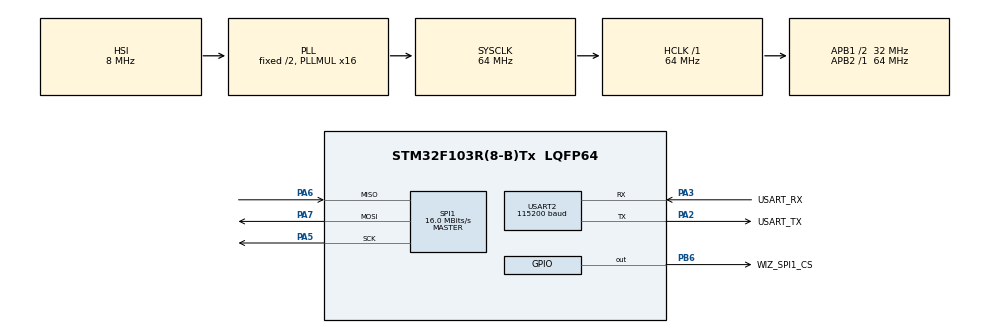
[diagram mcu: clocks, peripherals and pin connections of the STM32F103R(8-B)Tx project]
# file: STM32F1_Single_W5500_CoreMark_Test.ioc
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3rdParty.I-CUBE-CoreMark.0.1.0.ApplicationCcDeviceJjApplication=CoreMarkApp
3rdParty.I-CUBE-CoreMark.0.1.0.ITERATIONS=2000
3rdParty.I-CUBE-CoreMark.0.1.0.PRINTF_UART_PORT=huart2
3rdParty.I-CUBE-CoreMark.0.1.0.UtilityJjMISC=true
FREERTOS.BinarySemaphores01=coremark_start_sem,Dynamic,NULL
FREERTOS.Tasks01=mainTask,24,256,StartmainTask,Default,NULL,Dynamic,NULL,NULL;coremarkTask,8,1024,StartcoremarkTask,Default,NULL,Dynamic,NULL,NULL
FREERTOS.configTOTAL_HEAP_SIZE=6144
Mcu.Family=STM32F1
Mcu.Name=STM32F103R(8-B)Tx
Mcu.Package=LQFP64
NVIC.PriorityGroup=NVIC_PRIORITYGROUP_4
PA13.GPIO_Label=TMS
PA13.Mode=Serial_Wire
PA13.Signal=SYS_JTMS-SWDIO
PA14.GPIO_Label=TCK
PA14.Mode=Serial_Wire
PA14.Signal=SYS_JTCK-SWCLK
PA2.GPIO_Label=USART_TX
PA2.GPIO_Mode=GPIO_MODE_AF_PP
PA2.GPIO_PuPd=GPIO_NOPULL
PA2.GPIO_Speed=GPIO_SPEED_FREQ_LOW
PA2.Mode=Asynchronous
PA2.Signal=USART2_TX
PA3.GPIO_Label=USART_RX
PA3.GPIO_Mode=GPIO_MODE_AF_PP
PA3.GPIO_PuPd=GPIO_NOPULL
PA3.GPIO_Speed=GPIO_SPEED_FREQ_LOW
PA3.Mode=Asynchronous
PA3.Signal=USART2_RX
PA5.Mode=Full_Duplex_Master
PA5.Signal=SPI1_SCK
PA6.Mode=Full_Duplex_Master
PA6.Signal=SPI1_MISO
PA7.Mode=Full_Duplex_Master
PA7.Signal=SPI1_MOSI
PB3.GPIO_Label=SWO
PB3.Signal=SYS_JTDO-TRACESWO
PB6.GPIO_Label=WIZ_SPI1_CS
PB6.Signal=GPIO_Output
PC14-OSC32_IN.Mode=LSE-External-Oscillator
PC14-OSC32_IN.Signal=RCC_OSC32_IN
PC15-OSC32_OUT.Mode=LSE-External-Oscillator
PC15-OSC32_OUT.Signal=RCC_OSC32_OUT
PD0-OSC_IN.Mode=HSE-External-Clock-Source
PD0-OSC_IN.Signal=RCC_OSC_IN
PD1-OSC_OUT.Mode=HSE-External-Clock-Source
PD1-OSC_OUT.Signal=RCC_OSC_OUT
ProjectManager.HeapSize=0x200
ProjectManager.StackSize=0x2000
ProjectManager.TargetToolchain=MDK-ARM V5.32
RCC.AHBFreq_Value=64000000
RCC.APB1CLKDivider=RCC_HCLK_DIV2
RCC.APB1Freq_Value=32000000
RCC.APB1TimFreq_Value=64000000
RCC.APB2Freq_Value=64000000
RCC.APB2TimFreq_Value=64000000
RCC.HCLKFreq_Value=64000000
RCC.PLLMUL=RCC_PLL_MUL16
RCC.RTCClockSelection=RCC_RTCCLKSOURCE_LSE
RCC.SYSCLKFreq_VALUE=64000000
RCC.SYSCLKSource=RCC_SYSCLKSOURCE_PLLCLK
RCC.USBFreq_Value=64000000
SPI1.BaudRatePrescaler=SPI_BAUDRATEPRESCALER_4
SPI1.CalculateBaudRate=16.0 MBits/s
SPI1.Direction=SPI_DIRECTION_2LINES
SPI1.Mode=SPI_MODE_MASTER
SPI1.VirtualType=VM_MASTER
TIM4.Period=10000-1
TIM4.Prescaler=7200-1
USART2.BaudRate=115200
USART2.VirtualMode=VM_ASYNC
VP_3rdParty.I-CUBE-CoreMark_VS_DeviceJjApplication_0.1.0_0.1.0.Mode=DeviceJjApplication
VP_3rdParty.I-CUBE-CoreMark_VS_UtilityJjMISC_0.1.0_0.1.0.Mode=UtilityJjMISC
VP_FREERTOS_VS_CMSIS_V2.Mode=CMSIS_V2
VP_TIM4_VS_ClockSourceINT.Mode=Internal
board=NUCLEO-F103RB

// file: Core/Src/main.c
/* USER CODE BEGIN Header */
/**
  ******************************************************************************
  * @file           : main.c
  * @brief          : Main program body
  ******************************************************************************
  * @attention
  *
  * Copyright (c) 2023 STMicroelectronics.
  * All rights reserved.
  *
  * This software is licensed under terms that can be found in the LICENSE file
  * in the root directory of this software component.
  * If no LICENSE file comes with this software, it is provided AS-IS.
  *
  ******************************************************************************
  */
/* USER CODE END Header */
#include "main.h"
#include "cmsis_os.h"
#include "app_coremarkapp.h"
#include "dhcp.h"
#include "wizInterface.h"

/* USER CODE BEGIN PD */
#define SERVER_IP1	192	//server ip
#define SERVER_IP2	168
#define SERVER_IP3	2
#define SERVER_IP4	100
#define SERVER_PORT	3000 //server port

#define BUFFERSIZE 64

static uint8_t serverIP[] = { SERVER_IP1, SERVER_IP2, SERVER_IP3, SERVER_IP4 };
static uint16_t localPort = 1000;
/* USER CODE END PD */

SPI_HandleTypeDef hspi1;

TIM_HandleTypeDef htim4;

UART_HandleTypeDef huart2;

/* Definitions for mainTask */
osThreadId_t mainTaskHandle;
const osThreadAttr_t mainTask_attributes = {
  .name = "mainTask",
  .stack_size = 256 * 4,
  .priority = (osPriority_t) osPriorityNormal,
};
/* Definitions for coremarkTask */
osThreadId_t coremarkTaskHandle;
const osThreadAttr_t coremarkTask_attributes = {
  .name = "coremarkTask",
  .stack_size = 1024 * 4,
  .priority = (osPriority_t) osPriorityLow,
};
/* Definitions for coremark_start_sem */
osSemaphoreId_t coremark_start_semHandle;
const osSemaphoreAttr_t coremark_start_sem_attributes = {
  .name = "coremark_start_sem"
};
/* USER CODE BEGIN PV */
static uint16_t wizDHCPticks = 0;
uint8_t txBuffer[BUFFERSIZE];
/* USER CODE END PV */

void SystemClock_Config(void);
static void MX_GPIO_Init(void);
static void MX_USART2_UART_Init(void);
static void MX_SPI1_Init(void);
static void MX_TIM4_Init(void);
void StartmainTask(void *argument);
void StartcoremarkTask(void *argument);

/* USER CODE BEGIN 0 */
void HAL_TIM_PeriodElapsedCallback(TIM_HandleTypeDef *htim)
{
  /* USER CODE BEGIN Callback 0 */

  /* USER CODE END Callback 0 */
  if (htim->Instance == TIM4) {
    HAL_IncTick();
  }
  /* USER CODE BEGIN Callback 1 */
  if(htim->Instance == TIM4) {
	  wizDHCPticks++;
	  if(wizDHCPticks >= 1000)
	  {
		  wizDHCPticks = 0;
		  DHCP_time_handler();
	  }
  }
  /* USER CODE END Callback 1 */
}
/* USER CODE END 0 */

int main(void)
{

  /* MCU Configuration--------------------------------------------------------*/

  /* Reset of all peripherals, Initializes the Flash interface and the Systick. */
  HAL_Init();

  /* Configure the system clock */
  SystemClock_Config();

  /* Initialize all configured peripherals */
  MX_GPIO_Init();
  MX_USART2_UART_Init();
  MX_SPI1_Init();
  MX_TIM4_Init();
  //MX_CoreMarkApp_Init();
  /* USER CODE BEGIN 2 */
	printf("Start WIZ Chip Initialized...\n");

	if(!WIZ_ChipInit())
	{
		printf("WIZ_ChipInit failed.\n");
	}

	printf("Start Network Initialized...\n");
	if(!WIZ_NetworkInit())
	{
		printf("WIZ_NetworkInit failed.\n");
	}

	printf("Initialized finished...\n");
  /* USER CODE END 2 */

  /* Init scheduler */
  osKernelInitialize();

  /* Create the semaphores(s) */
  /* creation of coremark_start_sem */
  coremark_start_semHandle = osSemaphoreNew(1, 0, &coremark_start_sem_attributes);

  /* Create the thread(s) */
  /* creation of mainTask */
  mainTaskHandle = osThreadNew(StartmainTask, NULL, &mainTask_attributes);

  /* creation of coremarkTask */
  coremarkTaskHandle = osThreadNew(StartcoremarkTask, NULL, &coremarkTask_attributes);

  /* Start scheduler */
  osKernelStart();

  /* We should never get here as control is now taken by the scheduler */
  /* Infinite loop */
  while (1)
  {

  }
}

void SystemClock_Config(void)
{
  RCC_OscInitTypeDef RCC_OscInitStruct = {0};
  RCC_ClkInitTypeDef RCC_ClkInitStruct = {0};

  /** Initializes the RCC Oscillators according to the specified parameters
  * in the RCC_OscInitTypeDef structure.
  */
  RCC_OscInitStruct.OscillatorType = RCC_OSCILLATORTYPE_HSI;
  RCC_OscInitStruct.HSIState = RCC_HSI_ON;
  RCC_OscInitStruct.HSICalibrationValue = RCC_HSICALIBRATION_DEFAULT;
  RCC_OscInitStruct.PLL.PLLState = RCC_PLL_ON;
  RCC_OscInitStruct.PLL.PLLSource = RCC_PLLSOURCE_HSI_DIV2;
  RCC_OscInitStruct.PLL.PLLMUL = RCC_PLL_MUL16;
  if (HAL_RCC_OscConfig(&RCC_OscInitStruct) != HAL_OK)
  {
    Error_Handler();
  }

  /** Initializes the CPU, AHB and APB buses clocks
  */
  RCC_ClkInitStruct.ClockType = RCC_CLOCKTYPE_HCLK|RCC_CLOCKTYPE_SYSCLK
                              |RCC_CLOCKTYPE_PCLK1|RCC_CLOCKTYPE_PCLK2;
  RCC_ClkInitStruct.SYSCLKSource = RCC_SYSCLKSOURCE_PLLCLK;
  RCC_ClkInitStruct.AHBCLKDivider = RCC_SYSCLK_DIV1;
  RCC_ClkInitStruct.APB1CLKDivider = RCC_HCLK_DIV2;
  RCC_ClkInitStruct.APB2CLKDivider = RCC_HCLK_DIV1;

  if (HAL_RCC_ClockConfig(&RCC_ClkInitStruct, FLASH_LATENCY_2) != HAL_OK)
  {
    Error_Handler();
  }
}

static void MX_SPI1_Init(void)
{

  /* SPI1 parameter configuration*/
  hspi1.Instance = SPI1;
  hspi1.Init.Mode = SPI_MODE_MASTER;
  hspi1.Init.Direction = SPI_DIRECTION_2LINES;
  hspi1.Init.DataSize = SPI_DATASIZE_8BIT;
  hspi1.Init.CLKPolarity = SPI_POLARITY_LOW;
  hspi1.Init.CLKPhase = SPI_PHASE_1EDGE;
  hspi1.Init.NSS = SPI_NSS_SOFT;
  hspi1.Init.BaudRatePrescaler = SPI_BAUDRATEPRESCALER_4;
  hspi1.Init.FirstBit = SPI_FIRSTBIT_MSB;
  hspi1.Init.TIMode = SPI_TIMODE_DISABLE;
  hspi1.Init.CRCCalculation = SPI_CRCCALCULATION_DISABLE;
  hspi1.Init.CRCPolynomial = 10;
  if (HAL_SPI_Init(&hspi1) != HAL_OK)
  {
    Error_Handler();
  }

}

static void MX_TIM4_Init(void)
{

  TIM_ClockConfigTypeDef sClockSourceConfig = {0};
  TIM_MasterConfigTypeDef sMasterConfig = {0};

  htim4.Instance = TIM4;
  htim4.Init.Prescaler = 7200-1;
  htim4.Init.CounterMode = TIM_COUNTERMODE_UP;
  htim4.Init.Period = 10000-1;
  htim4.Init.ClockDivision = TIM_CLOCKDIVISION_DIV1;
  htim4.Init.AutoReloadPreload = TIM_AUTORELOAD_PRELOAD_DISABLE;
  if (HAL_TIM_Base_Init(&htim4) != HAL_OK)
  {
    Error_Handler();
  }
  sClockSourceConfig.ClockSource = TIM_CLOCKSOURCE_INTERNAL;
  if (HAL_TIM_ConfigClockSource(&htim4, &sClockSourceConfig) != HAL_OK)
  {
    Error_Handler();
  }
  sMasterConfig.MasterOutputTrigger = TIM_TRGO_RESET;
  sMasterConfig.MasterSlaveMode = TIM_MASTERSLAVEMODE_DISABLE;
  if (HAL_TIMEx_MasterConfigSynchronization(&htim4, &sMasterConfig) != HAL_OK)
  {
    Error_Handler();
  }

}

static void MX_USART2_UART_Init(void)
{

  huart2.Instance = USART2;
  huart2.Init.BaudRate = 115200;
  huart2.Init.WordLength = UART_WORDLENGTH_8B;
  huart2.Init.StopBits = UART_STOPBITS_1;
  huart2.Init.Parity = UART_PARITY_NONE;
  huart2.Init.Mode = UART_MODE_TX_RX;
  huart2.Init.HwFlowCtl = UART_HWCONTROL_NONE;
  huart2.Init.OverSampling = UART_OVERSAMPLING_16;
  if (HAL_UART_Init(&huart2) != HAL_OK)
  {
    Error_Handler();
  }

}

static void MX_GPIO_Init(void)
{
  GPIO_InitTypeDef GPIO_InitStruct = {0};

  /* GPIO Ports Clock Enable */
  __HAL_RCC_GPIOC_CLK_ENABLE();
  __HAL_RCC_GPIOD_CLK_ENABLE();
  __HAL_RCC_GPIOA_CLK_ENABLE();
  __HAL_RCC_GPIOB_CLK_ENABLE();

  /*Configure GPIO pin Output Level */
  HAL_GPIO_WritePin(WIZ_SPI1_CS_GPIO_Port, WIZ_SPI1_CS_Pin, GPIO_PIN_RESET);

  /*Configure GPIO pin : WIZ_SPI1_CS_Pin */
  GPIO_InitStruct.Pin = WIZ_SPI1_CS_Pin;
  GPIO_InitStruct.Mode = GPIO_MODE_OUTPUT_PP;
  GPIO_InitStruct.Pull = GPIO_NOPULL;
  GPIO_InitStruct.Speed = GPIO_SPEED_FREQ_LOW;
  HAL_GPIO_Init(WIZ_SPI1_CS_GPIO_Port, &GPIO_InitStruct);

}

void StartmainTask(void *argument)
{
  /* USER CODE BEGIN 5 */
	int32_t ret = 0;

	txBuffer[0] = 0x30;
	for(int i = 0; i < BUFFERSIZE - 1; i++)
	{
		if(txBuffer[i] != 0x39)
			txBuffer[i+1] = txBuffer[i] + 1;
		else
			txBuffer[i+1] = 0x30;
	}

  /* Infinite loop */
  for(;;)
  {
		ret = socket(CLIENT_SOCKET, Sn_MR_TCP, localPort++, SF_TCP_NODELAY);
		if(localPort == 0xFFFF) {
			localPort = 50000;
		}

		if (ret < 0) {
			printf("socket failed{%d}.\n", ret);
			close(CLIENT_SOCKET);
			osDelay(500);
			continue;
		}
		else {
			printf("socket success...\n");
		}

		while(getSn_SR(CLIENT_SOCKET) != SOCK_INIT);

		ret = connect(CLIENT_SOCKET, serverIP, SERVER_PORT);
		if (ret < 0) {
			printf("connect failed{%d}.Sn_SR()={%d}\n", ret, getSn_SR(CLIENT_SOCKET));
			close(CLIENT_SOCKET);
			osDelay(500);
			continue;
		}
		else {
			printf("connect success...\n");
		}

		osSemaphoreRelease(coremark_start_semHandle);

		while(1)
		{
				ret = send(CLIENT_SOCKET, (uint8_t*)txBuffer, BUFFERSIZE);
				if (ret < 0) {
					printf("send failed{%d}.\n", ret);
					close(CLIENT_SOCKET); //unexpected close
					break;
				}
				osDelay(100);
		}
  }
  /* USER CODE END 5 */
}

void StartcoremarkTask(void *argument)
{
  /* USER CODE BEGIN StartcoremarkTask */
	osSemaphoreAcquire(coremark_start_semHandle, osWaitForever);
	MX_CoreMarkApp_Init();
  /* Infinite loop */
  for(;;)
  {
    osDelay(1);
  }
  /* USER CODE END StartcoremarkTask */
}

void Error_Handler(void)
{
  __disable_irq();
  while (1)
  {
  }
}
